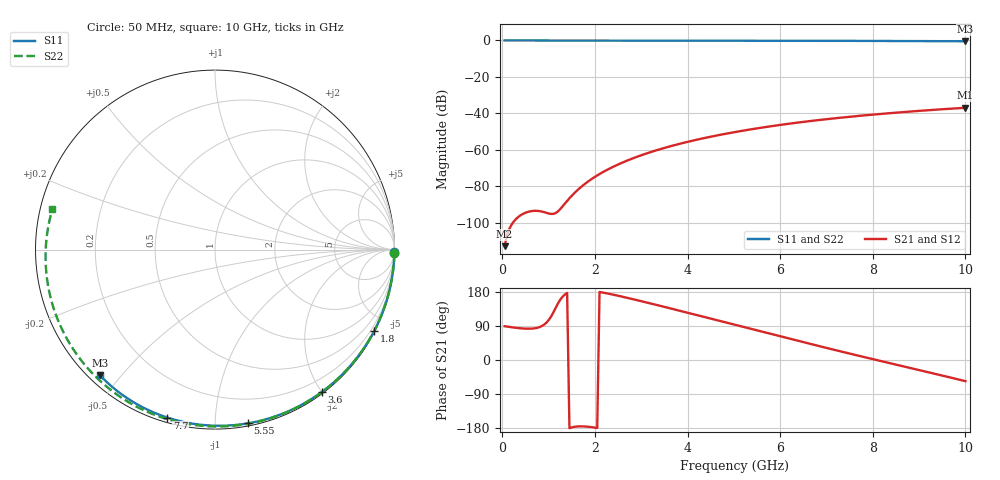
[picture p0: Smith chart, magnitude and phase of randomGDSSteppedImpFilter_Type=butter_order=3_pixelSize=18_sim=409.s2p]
! freq	dB(S11)	phase(S11)	dB(S12)	phase(S12)
!  dB(S21)	phase(S21)	dB(S22)	phase(S22)
!S-par simulation data
#  GHz  S  DB  R 50
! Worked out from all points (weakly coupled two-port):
!   200 points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, 50 MHz to 10 GHz, reference 50 ohm
!   highest |S21| = -36.95 dB at 10 GHz (marker M1); lowest = -112.9 dB at 50 MHz (marker M2)
!   lowest |S11| = -0.4 dB at 10 GHz (marker M3), VSWR 38.76, Z = 1.54 - j22 ohm
!   |S11| at or under -10 dB: nowhere
!   |S22| runs from -0.6 to 0.0 dB; largest |S21 - S12| = 0
!   S11 on the Smith chart (normalised r, x): 50 MHz: open; 1.8 GHz: 0.04, -4.14; 3.6 GHz: 0.02, -2.00; 5.55 GHz: 0.02, -1.21; 7.7 GHz: 0.02, -0.76; 10 GHz: 0.03, -0.44
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0.05  -0.00 -0.8  -112.86 89.2  -112.86 89.2  -0.00 -1.1
0.45  -0.01 -6.9  -95.10 83.1  -95.10 83.1  -0.01 -10.2
0.85  -0.02 -12.9  -93.85 89.3  -93.85 89.3  -0.02 -19.1
1.25  -0.02 -19.0  -92.56 158.8  -92.56 158.8  -0.04 -28.0
1.7  -0.03 -25.7  -80.40 -175.1  -80.40 -175.1  -0.05 -37.8
1.75  -0.03 -26.4  -79.36 -175.2  -79.36 -175.2  -0.05 -38.9
1.8  -0.03 -27.2  -78.37 -175.6  -78.37 -175.6  -0.05 -39.9
2.1  -0.04 -31.6  -73.28 179.5  -73.28 179.5  -0.06 -46.4
2.5  -0.05 -37.5  -68.05 169.6  -68.05 169.6  -0.07 -54.8
2.9  -0.06 -43.2  -63.90 158.2  -63.90 158.2  -0.08 -63.1
3.4  -0.07 -50.3  -59.70 143.2  -59.70 143.2  -0.10 -73.1
3.6  -0.07 -53.1  -58.25 137.1  -58.25 137.1  -0.10 -77.1
4.3  -0.09 -62.8  -53.89 115.5  -53.89 115.5  -0.13 -90.6
5.05  -0.11 -72.8  -50.14 92.1  -50.14 92.1  -0.16 -104.6
5.55  -0.13 -79.3  -48.03 76.5  -48.03 76.5  -0.19 -113.7
6.1  -0.15 -86.3  -45.99 59.4  -45.99 59.4  -0.22 -123.5
6.7  -0.18 -93.8  -44.06 41.0  -44.06 41.0  -0.26 -134.1
7.2  -0.21 -99.9  -42.65 25.9  -42.65 25.9  -0.30 -142.9
7.7  -0.24 -105.9  -41.39 11.0  -41.39 11.0  -0.34 -151.6
8.35  -0.29 -113.5  -39.93 -7.8  -39.93 -7.8  -0.40 -163.1
9.2  -0.36 -123.3  -38.26 -32.3  -38.26 -32.3  -0.50 -178.6
10  -0.45 -132.4  -36.95 -55.8  -36.95 -55.8  -0.60 166.1
